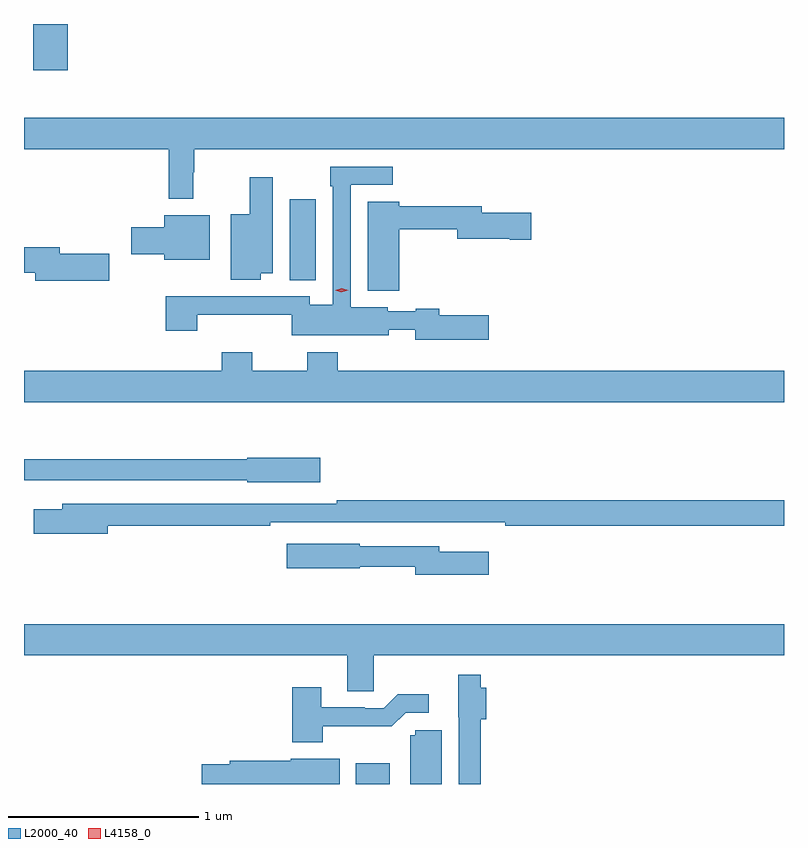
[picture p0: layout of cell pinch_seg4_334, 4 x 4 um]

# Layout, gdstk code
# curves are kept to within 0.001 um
import gdstk
lib = gdstk.Library(unit=1e-6, precision=1e-09)
def R(c, l, rs):  # rectangles x0, y0, x1, y1
    for r in rs: c.add(gdstk.rectangle(r[:2], r[2:], *l))
def P(c, l, *ps):  # polygons
    for p in ps: c.add(gdstk.Polygon(p, *l))
L2000_40 = (2000, 40)
L4158_0 = (4158, 0)

pinch_seg4_334 = lib.new_cell('pinch_seg4_334')
R(pinch_seg4_334, L2000_40, [(962.013,804.134,962.191,804.244), (961.664,806.785,961.801,807.211), (960.314,807.891,960.497,808.134)])
P(pinch_seg4_334, L2000_40, [(961.156,807.353),(961.163,807.353),(961.163,807.476),(964.266,807.476),(964.266,807.64),(960.266,807.64),(960.266,807.476),(961.027,807.476),(961.027,807.213),(961.156,807.213)],
  [(962.713,806.601),(962.452,806.601),(962.452,806.635),(962.328,806.635),(962.328,806.622),(962.181,806.622),(962.181,806.644),(961.986,806.644),(961.986,807.288),(962.206,807.288),(962.206,807.384),(961.878,807.384),(961.878,807.281),(961.89,807.281),(961.89,806.656),(961.77,806.656),(961.77,806.7),(961.259,806.7),(961.259,806.702),(961.013,806.702),(961.013,806.52),(961.178,806.52),(961.178,806.603),(961.674,806.603),(961.674,806.495),(962.185,806.495),(962.185,806.525),(962.324,806.525),(962.324,806.471),(962.713,806.471)],
  [(961.513,806.822),(961.576,806.822),(961.576,807.328),(961.454,807.328),(961.454,807.133),(961.355,807.133),(961.355,806.789),(961.513,806.789)],
  [(962.242,807.054),(962.546,807.054),(962.546,807.004),(962.822,807.004),(962.822,806.999),(962.935,806.999),(962.935,807.141),(962.674,807.141),(962.674,807.175),(962.242,807.175),(962.242,807.199),(962.075,807.199),(962.075,806.729),(962.242,806.729)],
  [(961.243,807.127),(961.004,807.127),(961.004,807.063),(960.831,807.063),(960.831,806.921),(961.004,806.921),(961.004,806.894),(961.243,806.894)],
  [(960.715,806.924),(960.454,806.924),(960.454,806.96),(960.266,806.96),(960.266,806.824),(960.326,806.824),(960.326,806.782),(960.715,806.782)],
  [(964.266,806.308),(961.916,806.308),(961.916,806.407),(961.756,806.407),(961.756,806.308),(961.467,806.308),(961.467,806.407),(961.307,806.407),(961.307,806.308),(960.266,806.308),(960.266,806.144),(964.266,806.144)],
  [(961.825,805.851),(961.44,805.851),(961.44,805.843),(960.266,805.843),(960.266,805.734),(961.44,805.734),(961.44,805.721),(961.825,805.721)],
  [(960.706,805.492),(961.562,805.492),(961.562,805.512),(962.548,805.512),(962.548,805.511),(962.8,805.511),(962.8,805.492),(964.266,805.492),(964.266,805.628),(961.912,805.628),(961.912,805.608),(960.467,805.608),(960.467,805.579),(960.318,805.579),(960.318,805.45),(960.706,805.45)],
  [(962.713,805.357),(962.452,805.357),(962.452,805.386),(962.034,805.386),(962.034,805.399),(961.65,805.399),(961.65,805.27),(962.034,805.27),(962.034,805.278),(962.324,805.278),(962.324,805.235),(962.713,805.235)],
  [(962.106,804.812),(964.266,804.812),(964.266,804.976),(960.266,804.976),(960.266,804.812),(961.967,804.812),(961.967,804.622),(962.106,804.622)],
  [(962.669,804.475),(962.699,804.475),(962.699,804.64),(962.669,804.64),(962.669,804.709),(962.552,804.709),(962.552,804.486),(962.553,804.486),(962.553,804.134),(962.669,804.134)],
  [(961.839,804.438),(962.201,804.437),(962.274,804.51),(962.395,804.51),(962.395,804.607),(962.233,804.607),(962.16,804.534),(962.06,804.534),(962.06,804.537),(961.831,804.537),(961.831,804.643),(961.679,804.643),(961.679,804.353),(961.839,804.353)],
  [(962.464,804.417),(962.325,804.417),(962.325,804.39),(962.3,804.39),(962.3,804.134),(962.464,804.134)],
  [(961.928,804.268),(961.67,804.268),(961.67,804.257),(961.348,804.257),(961.348,804.237),(961.202,804.237),(961.202,804.134),(961.928,804.134)])
P(pinch_seg4_334, L4158_0, [(961.937,806.722),(961.903,806.732),(961.902,806.733),(961.903,806.733),(961.938,806.742),(961.972,806.732),(961.973,806.732),(961.972,806.732)])

lib.write_gds('pinch_seg4_334.gds')
